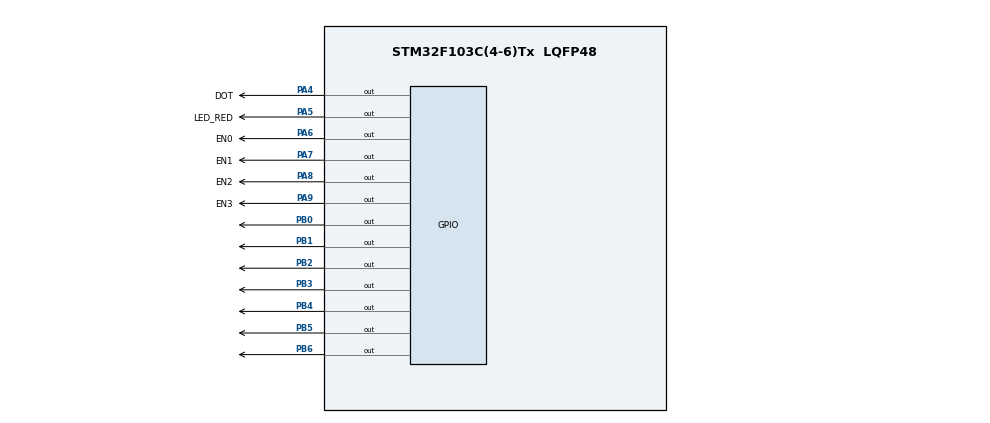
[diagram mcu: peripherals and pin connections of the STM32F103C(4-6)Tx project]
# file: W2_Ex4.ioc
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Mcu.Family=STM32F1
Mcu.Name=STM32F103C(4-6)Tx
Mcu.Package=LQFP48
NVIC.PriorityGroup=NVIC_PRIORITYGROUP_4
NVIC.TIM2_IRQn=true\:0\:0\:false\:false\:true\:true\:true
PA4.GPIO_Label=DOT
PA4.Signal=GPIO_Output
PA5.GPIO_Label=LED_RED
PA5.Signal=GPIO_Output
PA6.GPIO_Label=EN0
PA6.Signal=GPIO_Output
PA7.GPIO_Label=EN1
PA7.Signal=GPIO_Output
PA8.GPIO_Label=EN2
PA8.Signal=GPIO_Output
PA9.GPIO_Label=EN3
PA9.Signal=GPIO_Output
PB0.Signal=GPIO_Output
PB1.Signal=GPIO_Output
PB2.Signal=GPIO_Output
PB3.Signal=GPIO_Output
PB4.Signal=GPIO_Output
PB5.Signal=GPIO_Output
PB6.Signal=GPIO_Output
PD0-OSC_IN.Mode=HSE-External-Oscillator
PD0-OSC_IN.Signal=RCC_OSC_IN
PD1-OSC_OUT.Mode=HSE-External-Oscillator
PD1-OSC_OUT.Signal=RCC_OSC_OUT
ProjectManager.HeapSize=0x200
ProjectManager.StackSize=0x400
ProjectManager.TargetToolchain=STM32CubeIDE
RCC.APB1Freq_Value=8000000
RCC.APB2Freq_Value=8000000
TIM2.Period=9
TIM2.Prescaler=7999
VP_SYS_VS_ND.Mode=No_Debug
VP_TIM2_VS_ClockSourceINT.Mode=Internal
board=custom

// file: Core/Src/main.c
/* USER CODE BEGIN Header */
/**
  ******************************************************************************
  * @file           : main.c
  * @brief          : Main program body
  ******************************************************************************
  * @attention
  *
  * <h2><center>&copy; Copyright (c) 2021 STMicroelectronics.
  * All rights reserved.</center></h2>
  *
  * This software component is licensed by ST under BSD 3-Clause license,
  * the "License"; You may not use this file except in compliance with the
  * License. You may obtain a copy of the License at:
  *                        opensource.org/licenses/BSD-3-Clause
  *
  ******************************************************************************
  */
/* USER CODE END Header */
#include "main.h"

/* USER CODE BEGIN Includes */
int NUM[10][7]={
		{0,0,0,0,0,0,1},
		{1,0,0,1,1,1,1},
		{0,0,1,0,0,1,0},
		{0,0,0,0,1,1,0},
		{1,0,0,1,1,0,0},
		{0,1,0,0,1,0,0},
		{0,1,0,0,0,0,0},
		{0,0,0,1,1,1,1},
		{0,0,0,0,0,0,0},
		{0,0,0,0,1,0,0},
};

void display7SEG(int num);

#define RESET 0
#define ONE 1
#define TWO 2
#define THREE 3
#define ZERO 4
// Khơi tạo trạng thái đầu tiên
int status = RESET;

void FSM();

const int MAX_LED = 4;
int index_led = 0;
int led_buffer[4] = {1, 5, 0, 8};

void update7SEG(int index);

int hour = 15, minute = 8, second = 50;
void updateClockBuffer();
/* USER CODE END Includes */

TIM_HandleTypeDef htim2;

void SystemClock_Config(void);
static void MX_GPIO_Init(void);
static void MX_TIM2_Init(void);

int main(void)
{

  /* MCU Configuration--------------------------------------------------------*/

  /* Reset of all peripherals, Initializes the Flash interface and the Systick. */
  HAL_Init();

  /* Configure the system clock */
  SystemClock_Config();

  /* Initialize all configured peripherals */
  MX_GPIO_Init();
  MX_TIM2_Init();
  /* USER CODE BEGIN 2 */
  HAL_TIM_Base_Start_IT (&htim2 );
  /* USER CODE END 2 */

  /* Infinite loop */
  while (1)
  {
		  second ++;
		  if ( second >= 60) {
			  second = 0;
			  minute ++;
		  }

		  if( minute >= 60) {
			  minute = 0;
			  hour ++;
		  }

		  if( hour >=24){
			  hour = 0;
		  }

		  updateClockBuffer();

		  HAL_Delay(1000);
  }
}

void SystemClock_Config(void)
{
  RCC_OscInitTypeDef RCC_OscInitStruct = {0};
  RCC_ClkInitTypeDef RCC_ClkInitStruct = {0};

  /** Initializes the RCC Oscillators according to the specified parameters
  * in the RCC_OscInitTypeDef structure.
  */
  RCC_OscInitStruct.OscillatorType = RCC_OSCILLATORTYPE_HSI;
  RCC_OscInitStruct.HSIState = RCC_HSI_ON;
  RCC_OscInitStruct.HSICalibrationValue = RCC_HSICALIBRATION_DEFAULT;
  RCC_OscInitStruct.PLL.PLLState = RCC_PLL_NONE;
  if (HAL_RCC_OscConfig(&RCC_OscInitStruct) != HAL_OK)
  {
    Error_Handler();
  }
  /** Initializes the CPU, AHB and APB buses clocks
  */
  RCC_ClkInitStruct.ClockType = RCC_CLOCKTYPE_HCLK|RCC_CLOCKTYPE_SYSCLK
                              |RCC_CLOCKTYPE_PCLK1|RCC_CLOCKTYPE_PCLK2;
  RCC_ClkInitStruct.SYSCLKSource = RCC_SYSCLKSOURCE_HSI;
  RCC_ClkInitStruct.AHBCLKDivider = RCC_SYSCLK_DIV1;
  RCC_ClkInitStruct.APB1CLKDivider = RCC_HCLK_DIV1;
  RCC_ClkInitStruct.APB2CLKDivider = RCC_HCLK_DIV1;

  if (HAL_RCC_ClockConfig(&RCC_ClkInitStruct, FLASH_LATENCY_0) != HAL_OK)
  {
    Error_Handler();
  }
}

static void MX_TIM2_Init(void)
{

  TIM_ClockConfigTypeDef sClockSourceConfig = {0};
  TIM_MasterConfigTypeDef sMasterConfig = {0};

  htim2.Instance = TIM2;
  htim2.Init.Prescaler = 7999;
  htim2.Init.CounterMode = TIM_COUNTERMODE_UP;
  htim2.Init.Period = 9;
  htim2.Init.ClockDivision = TIM_CLOCKDIVISION_DIV1;
  htim2.Init.AutoReloadPreload = TIM_AUTORELOAD_PRELOAD_DISABLE;
  if (HAL_TIM_Base_Init(&htim2) != HAL_OK)
  {
    Error_Handler();
  }
  sClockSourceConfig.ClockSource = TIM_CLOCKSOURCE_INTERNAL;
  if (HAL_TIM_ConfigClockSource(&htim2, &sClockSourceConfig) != HAL_OK)
  {
    Error_Handler();
  }
  sMasterConfig.MasterOutputTrigger = TIM_TRGO_RESET;
  sMasterConfig.MasterSlaveMode = TIM_MASTERSLAVEMODE_DISABLE;
  if (HAL_TIMEx_MasterConfigSynchronization(&htim2, &sMasterConfig) != HAL_OK)
  {
    Error_Handler();
  }

}

static void MX_GPIO_Init(void)
{
  GPIO_InitTypeDef GPIO_InitStruct = {0};

  /* GPIO Ports Clock Enable */
  __HAL_RCC_GPIOD_CLK_ENABLE();
  __HAL_RCC_GPIOA_CLK_ENABLE();
  __HAL_RCC_GPIOB_CLK_ENABLE();

  /*Configure GPIO pin Output Level */
  HAL_GPIO_WritePin(GPIOA, DOT_Pin|LED_RED_Pin|EN0_Pin|EN1_Pin
                          |EN2_Pin|EN3_Pin, GPIO_PIN_RESET);

  /*Configure GPIO pin Output Level */
  HAL_GPIO_WritePin(GPIOB, GPIO_PIN_0|GPIO_PIN_1|GPIO_PIN_2|GPIO_PIN_3
                          |GPIO_PIN_4|GPIO_PIN_5|GPIO_PIN_6, GPIO_PIN_RESET);

  /*Configure GPIO pins : DOT_Pin LED_RED_Pin EN0_Pin EN1_Pin
                           EN2_Pin EN3_Pin */
  GPIO_InitStruct.Pin = DOT_Pin|LED_RED_Pin|EN0_Pin|EN1_Pin
                          |EN2_Pin|EN3_Pin;
  GPIO_InitStruct.Mode = GPIO_MODE_OUTPUT_PP;
  GPIO_InitStruct.Pull = GPIO_NOPULL;
  GPIO_InitStruct.Speed = GPIO_SPEED_FREQ_LOW;
  HAL_GPIO_Init(GPIOA, &GPIO_InitStruct);

  /*Configure GPIO pins : PB0 PB1 PB2 PB3
                           PB4 PB5 PB6 */
  GPIO_InitStruct.Pin = GPIO_PIN_0|GPIO_PIN_1|GPIO_PIN_2|GPIO_PIN_3
                          |GPIO_PIN_4|GPIO_PIN_5|GPIO_PIN_6;
  GPIO_InitStruct.Mode = GPIO_MODE_OUTPUT_PP;
  GPIO_InitStruct.Pull = GPIO_NOPULL;
  GPIO_InitStruct.Speed = GPIO_SPEED_FREQ_LOW;
  HAL_GPIO_Init(GPIOB, &GPIO_InitStruct);

}

/* USER CODE BEGIN 4 */
// f (source) = 100 Hz, T = 10 ms
// f (callback) = 100/25 = 4 Hz, T = 0.25s

int counter = 25;

void HAL_TIM_PeriodElapsedCallback ( TIM_HandleTypeDef * htim ){
	counter--;

	if (counter <= 0){
		counter = 25;

		FSM();
	}
}

void update7SEG (int index ){
	switch ( index ){
		case 0:
			// Display the first 7 SEG with led_buffer [0]
			display7SEG(led_buffer[0]);
			break ;

		case 1:
			// Display the second 7 SEG with led_buffer [1]
			display7SEG(led_buffer[1]);
			break ;

		case 2:
			// Display the third 7 SEG with led_buffer [2]
			display7SEG(led_buffer[2]);
			break ;

		case 3:
			// Display the forth 7 SEG with led_buffer [3]
			display7SEG(led_buffer[3]);
			break ;

		default :
			break ;
	}
}

void FSM(){
	switch (status) {
		case RESET:
			// tắt tất cả đèn
			// 4 đèn 7SEG
			HAL_GPIO_WritePin(EN0_GPIO_Port, EN0_Pin, 1);
			HAL_GPIO_WritePin(EN1_GPIO_Port, EN1_Pin, 1);
			HAL_GPIO_WritePin(EN2_GPIO_Port, EN2_Pin, 1);
			HAL_GPIO_WritePin(EN3_GPIO_Port, EN3_Pin, 1);

			// đèn LED_RED
			HAL_GPIO_WritePin(LED_RED_GPIO_Port, LED_RED_Pin, 1);

			// đèn DOT
			HAL_GPIO_WritePin(DOT_GPIO_Port, DOT_Pin, 1);

			status = ONE;
			break;

		case ONE:
			// sáng đèn thứ nhất LED = 1, tắt các đèn còn lại
			HAL_GPIO_WritePin(EN3_GPIO_Port, EN3_Pin, 1);

			update7SEG(0);
			HAL_GPIO_WritePin(EN0_GPIO_Port, EN0_Pin, 0);

			status = TWO;
			break;

		case TWO:
			// sáng đèn thứ hai LED = 2, tắt các đèn còn lại
			HAL_GPIO_WritePin(EN0_GPIO_Port, EN0_Pin, 1);

			update7SEG(1);
			HAL_GPIO_WritePin(EN1_GPIO_Port, EN1_Pin, 0);

			status = THREE;
			break;

		case THREE:
			// sáng đèn thứ ba LED = 3, tắt các đèn còn lại
			HAL_GPIO_WritePin(EN1_GPIO_Port, EN1_Pin, 1);

			update7SEG(2);
			HAL_GPIO_WritePin(EN2_GPIO_Port, EN2_Pin, 0);

			status = ZERO;
			break;

		case ZERO:
			// sáng đèn thứ tư LED = 0, tắt các đèn còn lại
			HAL_GPIO_WritePin(EN2_GPIO_Port, EN2_Pin, 1);

			update7SEG(3);
			HAL_GPIO_WritePin(EN3_GPIO_Port, EN3_Pin, 0);

			  // chớp đèn sau 1s
			HAL_GPIO_TogglePin(DOT_GPIO_Port, DOT_Pin);
			HAL_GPIO_TogglePin(LED_RED_GPIO_Port, LED_RED_Pin);

			status = ONE;
			break;

		default:
			// tắt tất cả đèn
			// 4 đèn 7SEG
			HAL_GPIO_WritePin(EN0_GPIO_Port, EN0_Pin, 1);
			HAL_GPIO_WritePin(EN1_GPIO_Port, EN1_Pin, 1);
			HAL_GPIO_WritePin(EN2_GPIO_Port, EN2_Pin, 1);
			HAL_GPIO_WritePin(EN3_GPIO_Port, EN3_Pin, 1);

			// đèn LED_RED
			HAL_GPIO_WritePin(LED_RED_GPIO_Port, LED_RED_Pin, 1);

			// đèn DOT
			HAL_GPIO_WritePin(DOT_GPIO_Port, DOT_Pin, 1);

			status = RESET;
			break;
	}
}

void display7SEG(int num)
{
	HAL_GPIO_WritePin(GPIOB, GPIO_PIN_0, NUM[num][0]);
	HAL_GPIO_WritePin(GPIOB, GPIO_PIN_1, NUM[num][1]);
	HAL_GPIO_WritePin(GPIOB, GPIO_PIN_2, NUM[num][2]);
	HAL_GPIO_WritePin(GPIOB, GPIO_PIN_3, NUM[num][3]);
	HAL_GPIO_WritePin(GPIOB, GPIO_PIN_4, NUM[num][4]);
	HAL_GPIO_WritePin(GPIOB, GPIO_PIN_5, NUM[num][5]);
	HAL_GPIO_WritePin(GPIOB, GPIO_PIN_6, NUM[num][6]);
}

void updateClockBuffer(){
	led_buffer[0] = hour / 10;
	led_buffer[1] = hour % 10;
	led_buffer[2] = minute / 10;
	led_buffer[3] = minute % 10;
}
/* USER CODE END 4 */

void Error_Handler(void)
{
  __disable_irq();
  while (1)
  {
  }
}

/************************ (C) COPYRIGHT STMicroelectronics *****END OF FILE****/
